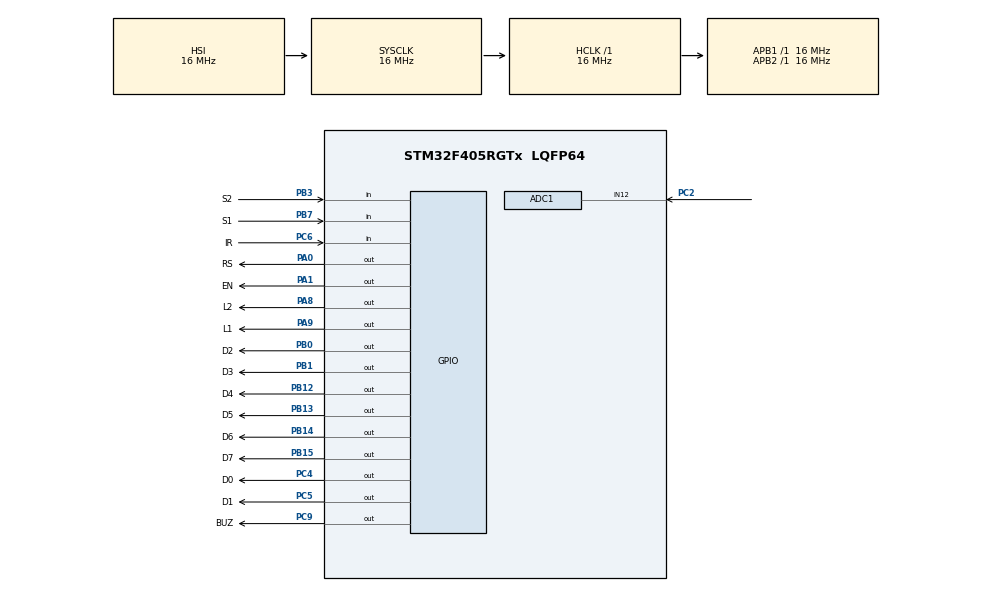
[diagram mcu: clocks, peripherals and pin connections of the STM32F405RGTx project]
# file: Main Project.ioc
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ADC1.Channel-3\#ChannelRegularConversion=ADC_CHANNEL_12
ADC1.NbrOfConversionFlag=1
ADC1.Rank-3\#ChannelRegularConversion=1
ADC1.SamplingTime-3\#ChannelRegularConversion=ADC_SAMPLETIME_3CYCLES
ADC1.master=1
Mcu.Family=STM32F4
Mcu.Name=STM32F405RGTx
Mcu.Package=LQFP64
NVIC.PriorityGroup=NVIC_PRIORITYGROUP_4
PA0-WKUP.GPIO_Label=RS
PA0-WKUP.Signal=GPIO_Output
PA1.GPIO_Label=EN
PA1.Signal=GPIO_Output
PA13.Mode=Serial_Wire
PA13.Signal=SYS_JTMS-SWDIO
PA14.Mode=Serial_Wire
PA14.Signal=SYS_JTCK-SWCLK
PA8.GPIO_Label=L2
PA8.Signal=GPIO_Output
PA9.GPIO_Label=L1
PA9.Signal=GPIO_Output
PB0.GPIO_Label=D2
PB0.Signal=GPIO_Output
PB1.GPIO_Label=D3
PB1.Signal=GPIO_Output
PB12.GPIO_Label=D4
PB12.Signal=GPIO_Output
PB13.GPIO_Label=D5
PB13.Signal=GPIO_Output
PB14.GPIO_Label=D6
PB14.Signal=GPIO_Output
PB15.GPIO_Label=D7
PB15.Signal=GPIO_Output
PB3.GPIO_Label=S2
PB3.Signal=GPIO_Input
PB7.GPIO_Label=S1
PB7.Signal=GPIO_Input
PC14-OSC32_IN.Mode=LSE-External-Oscillator
PC14-OSC32_IN.Signal=RCC_OSC32_IN
PC15-OSC32_OUT.Mode=LSE-External-Oscillator
PC15-OSC32_OUT.Signal=RCC_OSC32_OUT
PC2.Signal=ADCx_IN12
PC4.GPIO_Label=D0
PC4.Signal=GPIO_Output
PC5.GPIO_Label=D1
PC5.Signal=GPIO_Output
PC6.GPIO_Label=IR
PC6.Signal=GPIO_Input
PC9.GPIO_Label=BUZ
PC9.Signal=GPIO_Output
PH0-OSC_IN.Mode=HSE-External-Oscillator
PH0-OSC_IN.Signal=RCC_OSC_IN
PH1-OSC_OUT.Mode=HSE-External-Oscillator
PH1-OSC_OUT.Signal=RCC_OSC_OUT
ProjectManager.HeapSize=0x200
ProjectManager.StackSize=0x400
ProjectManager.TargetToolchain=STM32CubeIDE
RCC.AHBFreq_Value=16000000
RCC.APB1Freq_Value=16000000
RCC.APB2Freq_Value=16000000
RCC.CortexFreq_Value=16000000
RCC.HSE_VALUE=25000000
RCC.HSI_VALUE=16000000
RCC.SYSCLKFreq_VALUE=16000000
RCC.VCOOutputFreq_Value=192000000
SH.ADCx_IN12.0=ADC1_IN12,IN12
board=custom

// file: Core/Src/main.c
/* USER CODE BEGIN Header */
/**
  ******************************************************************************
  * @file           : main.c
  * @brief          : Main program body
  ******************************************************************************
  * @attention
  *
  * Copyright (c) 2024 STMicroelectronics.
  * All rights reserved.
  *
  * This software is licensed under terms that can be found in the LICENSE file
  * in the root directory of this software component.
  * If no LICENSE file comes with this software, it is provided AS-IS.
  *
  ******************************************************************************
  */
/* USER CODE END Header */
#include "main.h"

/* USER CODE BEGIN Includes */
#include"lcd.h"
/* USER CODE END Includes */

 ADC_HandleTypeDef hadc1;

void SystemClock_Config(void);
static void MX_GPIO_Init(void);
static void MX_ADC1_Init(void);

/* USER CODE BEGIN 0 */
unsigned int read1;
unsigned int rt=300;
unsigned int count=0;
unsigned int irstate;
unsigned int state = 1;

unsigned int switchState =GPIO_PIN_RESET;
unsigned int lastswitchState =GPIO_PIN_RESET;
unsigned int ledstate = GPIO_PIN_RESET;

unsigned int switchState1 =GPIO_PIN_RESET;
unsigned int lastswitchState1 =GPIO_PIN_RESET;
unsigned int ledstate1 = GPIO_PIN_RESET;
/* USER CODE END 0 */

int main(void)
{

  /* MCU Configuration--------------------------------------------------------*/

  /* Reset of all peripherals, Initializes the Flash interface and the Systick. */
  HAL_Init();

  /* USER CODE BEGIN Init */
  LCDInitialize();
  /* USER CODE END Init */

  /* Configure the system clock */
  SystemClock_Config();

  /* Initialize all configured peripherals */
  MX_GPIO_Init();
  MX_ADC1_Init();

  /* Infinite loop */
  /* USER CODE BEGIN WHILE */
  while (1)
  {
	  /*IR Sensor*/

	  irstate=HAL_GPIO_ReadPin(GPIOC,IR_Pin);
	  if(irstate==1 && state==0)
	  {
		  HAL_GPIO_WritePin(BUZ_GPIO_Port,BUZ_Pin,1);
		  HAL_Delay(100);
	  	  cmd(0x80);
	  	  LCDStringdata("Door Opened");
	  }
	  else if(irstate==0 && state==1)
	  {

	  	  cmd(0x80);
	  	  LCDStringdata("Door Closed");
	  	/*Temperature Sensor*/
	  		  cmd(0x80);
	  		  LCDStringdata("THE TEMPERATURE IS:");
	  		  HAL_Delay(2000);
	  		  cmd(0x01);
	  		  HAL_ADC_Start(&hadc1);
	  		  HAL_ADC_PollForConversion(&hadc1,500);
	  		  read1=HAL_ADC_GetValue(&hadc1);
	  		  HAL_ADC_Stop(&hadc1);
	  		  cmd(0x80);
	  		  DisplauNumeric(read1);
	  		  if(read1<=rt)
	  		  {

	  			  cmd(0xC0);
	  			  LCDStringdata("AC is OFF");
	  			  HAL_Delay(2000);
	  		  }
	  		  else
	  		  {
	  			 // cmd(0x01);
	  		    cmd(0xC0);
	  		    LCDStringdata("AC is ON");
	  		    HAL_Delay(2000);
	  		  }
	  		  cmd(0x01);
	  }
	  state=irstate;
	  cmd(0x01);

	  /*Temperature Sensor*/
	  /*cmd(0x80);
	  LCDStringdata("THE TEMPERATURE IS:");
	  HAL_Delay(2000);
	  cmd(0x01);
	  HAL_ADC_Start(&hadc1);
	  HAL_ADC_PollForConversion(&hadc1,500);
	  read1=HAL_ADC_GetValue(&hadc1);
	  HAL_ADC_Stop(&hadc1);
	  cmd(0x80);
	  DisplauNumeric(read1);
	  if(read1<=rt)
	  {

		  cmd(0xC0);
		  LCDStringdata("AC is OFF");
		  HAL_Delay(2000);
	  }
	  else
	  {
		 // cmd(0x01);
	    cmd(0xC0);
	    LCDStringdata("AC is ON");
	    HAL_Delay(2000);
	  }
	  cmd(0x01);*/

	  	  /*Window Detection*/

	  	switchState=HAL_GPIO_ReadPin(GPIOB,S1_Pin);

	  	if(switchState==GPIO_PIN_SET && lastswitchState==GPIO_PIN_RESET)
	  	{
	  		ledstate=(ledstate==GPIO_PIN_RESET)? GPIO_PIN_SET : GPIO_PIN_RESET ;
	  		HAL_GPIO_WritePin(GPIOA, L1_Pin, ledstate);
	  	}
	  	lastswitchState=switchState;

	  	switchState1=HAL_GPIO_ReadPin(GPIOB,S2_Pin);

	  	if(switchState1==GPIO_PIN_SET && lastswitchState1==GPIO_PIN_RESET)
	  	{
	  		ledstate1=(ledstate1==GPIO_PIN_RESET)? GPIO_PIN_SET : GPIO_PIN_RESET ;
	  		HAL_GPIO_WritePin(GPIOA, L2_Pin, ledstate1);
	  	}
	  	lastswitchState1=switchState1;

    /* USER CODE END WHILE */

  }
}

void SystemClock_Config(void)
{
  RCC_OscInitTypeDef RCC_OscInitStruct = {0};
  RCC_ClkInitTypeDef RCC_ClkInitStruct = {0};

  /** Configure the main internal regulator output voltage
  */
  __HAL_RCC_PWR_CLK_ENABLE();
  __HAL_PWR_VOLTAGESCALING_CONFIG(PWR_REGULATOR_VOLTAGE_SCALE1);

  /** Initializes the RCC Oscillators according to the specified parameters
  * in the RCC_OscInitTypeDef structure.
  */
  RCC_OscInitStruct.OscillatorType = RCC_OSCILLATORTYPE_HSI;
  RCC_OscInitStruct.HSIState = RCC_HSI_ON;
  RCC_OscInitStruct.HSICalibrationValue = RCC_HSICALIBRATION_DEFAULT;
  RCC_OscInitStruct.PLL.PLLState = RCC_PLL_NONE;
  if (HAL_RCC_OscConfig(&RCC_OscInitStruct) != HAL_OK)
  {
    Error_Handler();
  }

  /** Initializes the CPU, AHB and APB buses clocks
  */
  RCC_ClkInitStruct.ClockType = RCC_CLOCKTYPE_HCLK|RCC_CLOCKTYPE_SYSCLK
                              |RCC_CLOCKTYPE_PCLK1|RCC_CLOCKTYPE_PCLK2;
  RCC_ClkInitStruct.SYSCLKSource = RCC_SYSCLKSOURCE_HSI;
  RCC_ClkInitStruct.AHBCLKDivider = RCC_SYSCLK_DIV1;
  RCC_ClkInitStruct.APB1CLKDivider = RCC_HCLK_DIV1;
  RCC_ClkInitStruct.APB2CLKDivider = RCC_HCLK_DIV1;

  if (HAL_RCC_ClockConfig(&RCC_ClkInitStruct, FLASH_LATENCY_0) != HAL_OK)
  {
    Error_Handler();
  }
}

static void MX_ADC1_Init(void)
{

  ADC_ChannelConfTypeDef sConfig = {0};

  /** Configure the global features of the ADC (Clock, Resolution, Data Alignment and number of conversion)
  */
  hadc1.Instance = ADC1;
  hadc1.Init.ClockPrescaler = ADC_CLOCK_SYNC_PCLK_DIV2;
  hadc1.Init.Resolution = ADC_RESOLUTION_12B;
  hadc1.Init.ScanConvMode = DISABLE;
  hadc1.Init.ContinuousConvMode = DISABLE;
  hadc1.Init.DiscontinuousConvMode = DISABLE;
  hadc1.Init.ExternalTrigConvEdge = ADC_EXTERNALTRIGCONVEDGE_NONE;
  hadc1.Init.ExternalTrigConv = ADC_SOFTWARE_START;
  hadc1.Init.DataAlign = ADC_DATAALIGN_RIGHT;
  hadc1.Init.NbrOfConversion = 1;
  hadc1.Init.DMAContinuousRequests = DISABLE;
  hadc1.Init.EOCSelection = ADC_EOC_SINGLE_CONV;
  if (HAL_ADC_Init(&hadc1) != HAL_OK)
  {
    Error_Handler();
  }

  /** Configure for the selected ADC regular channel its corresponding rank in the sequencer and its sample time.
  */
  sConfig.Channel = ADC_CHANNEL_12;
  sConfig.Rank = 1;
  sConfig.SamplingTime = ADC_SAMPLETIME_3CYCLES;
  if (HAL_ADC_ConfigChannel(&hadc1, &sConfig) != HAL_OK)
  {
    Error_Handler();
  }

}

static void MX_GPIO_Init(void)
{
  GPIO_InitTypeDef GPIO_InitStruct = {0};

  /* GPIO Ports Clock Enable */
  __HAL_RCC_GPIOC_CLK_ENABLE();
  __HAL_RCC_GPIOH_CLK_ENABLE();
  __HAL_RCC_GPIOA_CLK_ENABLE();
  __HAL_RCC_GPIOB_CLK_ENABLE();

  /*Configure GPIO pin Output Level */
  HAL_GPIO_WritePin(GPIOA, RS_Pin|EN_Pin|L2_Pin|L1_Pin, GPIO_PIN_RESET);

  /*Configure GPIO pin Output Level */
  HAL_GPIO_WritePin(GPIOC, D0_Pin|D1_Pin|BUZ_Pin, GPIO_PIN_RESET);

  /*Configure GPIO pin Output Level */
  HAL_GPIO_WritePin(GPIOB, D2_Pin|D3_Pin|D4_Pin|D5_Pin
                          |D6_Pin|D7_Pin, GPIO_PIN_RESET);

  /*Configure GPIO pins : RS_Pin EN_Pin L2_Pin L1_Pin */
  GPIO_InitStruct.Pin = RS_Pin|EN_Pin|L2_Pin|L1_Pin;
  GPIO_InitStruct.Mode = GPIO_MODE_OUTPUT_PP;
  GPIO_InitStruct.Pull = GPIO_NOPULL;
  GPIO_InitStruct.Speed = GPIO_SPEED_FREQ_LOW;
  HAL_GPIO_Init(GPIOA, &GPIO_InitStruct);

  /*Configure GPIO pins : D0_Pin D1_Pin BUZ_Pin */
  GPIO_InitStruct.Pin = D0_Pin|D1_Pin|BUZ_Pin;
  GPIO_InitStruct.Mode = GPIO_MODE_OUTPUT_PP;
  GPIO_InitStruct.Pull = GPIO_NOPULL;
  GPIO_InitStruct.Speed = GPIO_SPEED_FREQ_LOW;
  HAL_GPIO_Init(GPIOC, &GPIO_InitStruct);

  /*Configure GPIO pins : D2_Pin D3_Pin D4_Pin D5_Pin
                           D6_Pin D7_Pin */
  GPIO_InitStruct.Pin = D2_Pin|D3_Pin|D4_Pin|D5_Pin
                          |D6_Pin|D7_Pin;
  GPIO_InitStruct.Mode = GPIO_MODE_OUTPUT_PP;
  GPIO_InitStruct.Pull = GPIO_NOPULL;
  GPIO_InitStruct.Speed = GPIO_SPEED_FREQ_LOW;
  HAL_GPIO_Init(GPIOB, &GPIO_InitStruct);

  /*Configure GPIO pin : IR_Pin */
  GPIO_InitStruct.Pin = IR_Pin;
  GPIO_InitStruct.Mode = GPIO_MODE_INPUT;
  GPIO_InitStruct.Pull = GPIO_NOPULL;
  HAL_GPIO_Init(IR_GPIO_Port, &GPIO_InitStruct);

  /*Configure GPIO pins : S2_Pin S1_Pin */
  GPIO_InitStruct.Pin = S2_Pin|S1_Pin;
  GPIO_InitStruct.Mode = GPIO_MODE_INPUT;
  GPIO_InitStruct.Pull = GPIO_NOPULL;
  HAL_GPIO_Init(GPIOB, &GPIO_InitStruct);

}

void Error_Handler(void)
{
  __disable_irq();
  while (1)
  {
  }
}
